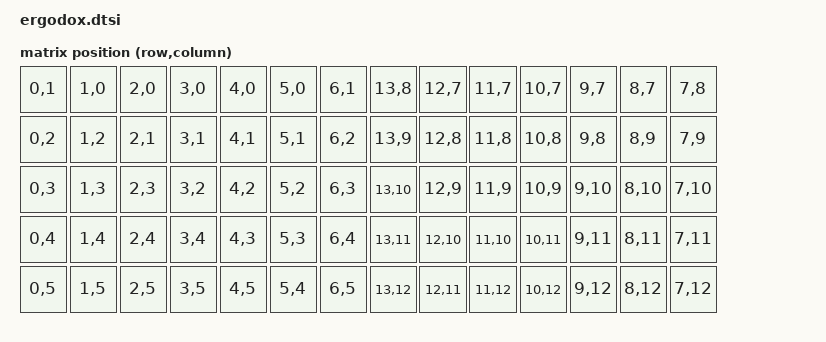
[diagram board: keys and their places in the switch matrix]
#include <dt-bindings/zmk/matrix_transform.h>

/ {
    chosen {
        zmk,kscan = &kscan0;
        zmk,matrix-transform = &default_transform;
    };

    default_transform: keymap_transform_0 {
        compatible = "zmk,matrix-transform";
        columns = <14>;
        rows = <5>;
        map = <
             RC(0,1) RC(1,0) RC(2,0) RC(3,0) RC(4,0) RC(5,0) RC(6,1)        RC(13,8)  RC(12,7)  RC(11,7)  RC(10,7)  RC(9,7)  RC(8,7)  RC(7,8)
             RC(0,2) RC(1,2) RC(2,1) RC(3,1) RC(4,1) RC(5,1) RC(6,2)        RC(13,9)  RC(12,8)  RC(11,8)  RC(10,8)  RC(9,8)  RC(8,9)  RC(7,9)
             RC(0,3) RC(1,3) RC(2,3) RC(3,2) RC(4,2) RC(5,2) RC(6,3)        RC(13,10) RC(12,9)  RC(11,9)  RC(10,9)  RC(9,10) RC(8,10) RC(7,10)
             RC(0,4) RC(1,4) RC(2,4) RC(3,4) RC(4,3) RC(5,3) RC(6,4)        RC(13,11) RC(12,10) RC(11,10) RC(10,11) RC(9,11) RC(8,11) RC(7,11)
             RC(0,5) RC(1,5) RC(2,5) RC(3,5) RC(4,5) RC(5,4) RC(6,5)        RC(13,12) RC(12,11) RC(11,12) RC(10,12) RC(9,12) RC(8,12) RC(7,12)
        >;
    };

   kscan0: kscan {
        compatible = "zmk,kscan-gpio-charlieplex";
        wakeup-source;
        interrupt-gpios = <&pro_micro 21 (GPIO_ACTIVE_HIGH | GPIO_PULL_DOWN) >;
    };

};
